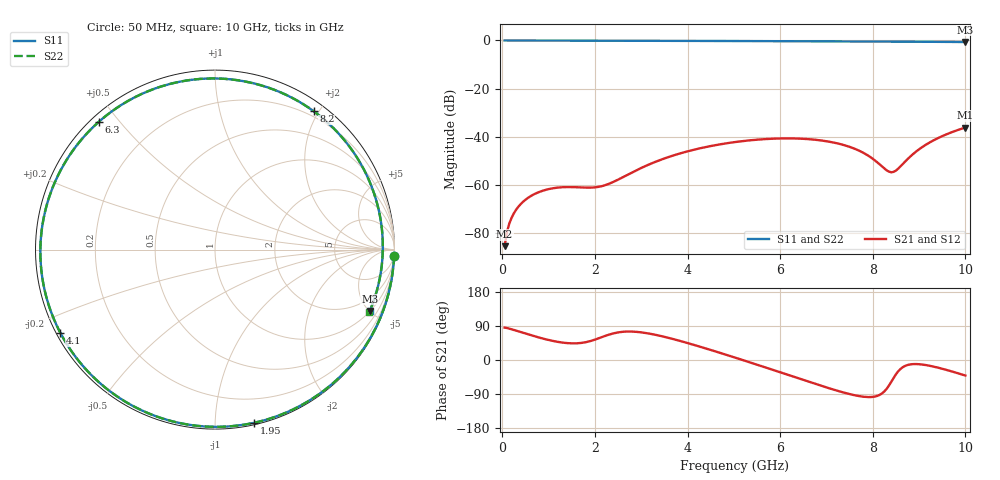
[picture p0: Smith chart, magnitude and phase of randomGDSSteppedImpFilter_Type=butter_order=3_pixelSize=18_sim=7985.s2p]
! freq	dB(S11)	phase(S11)	dB(S12)	phase(S12)
!  dB(S21)	phase(S21)	dB(S22)	phase(S22)
!S-par simulation data
#  GHz  S  DB  R 50
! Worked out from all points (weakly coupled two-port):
!   200 points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, 50 MHz to 10 GHz, reference 50 ohm
!   highest |S21| = -36.18 dB at 10 GHz (marker M1); lowest = -85.5 dB at 50 MHz (marker M2)
!   lowest |S11| = -0.7 dB at 10 GHz (marker M3), VSWR 26.58, Z = 51.2 - j251 ohm
!   |S11| at or under -10 dB: nowhere
!   |S22| runs from -0.7 to 0.0 dB; largest |S21 - S12| = 0
!   S11 on the Smith chart (normalised r, x): 50 MHz: 1, -57; 1.95 GHz: 0.01, -1.25; 4.1 GHz: 0.01, -0.25; 6.3 GHz: 0.02, +0.44; 8.2 GHz: 0.13, +1.93; 10 GHz: 1.02, -5.02
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0.05  -0.01 -2.0  -85.50 85.5  -85.50 85.5  -0.01 -2.0
0.1  -0.01 -4.1  -79.64 84.4  -79.64 84.4  -0.01 -4.1
0.2  -0.02 -8.2  -73.72 81.1  -73.72 81.1  -0.02 -8.2
0.3  -0.02 -12.3  -70.31 77.4  -70.31 77.4  -0.02 -12.3
0.65  -0.04 -26.7  -64.30 64.2  -64.30 64.2  -0.04 -26.7
1.1  -0.06 -44.8  -61.41 50.1  -61.41 50.1  -0.06 -44.8
1.75  -0.09 -69.9  -61.14 45.8  -61.14 45.8  -0.09 -69.9
1.95  -0.09 -77.4  -61.13 51.7  -61.13 51.7  -0.09 -77.4
2.65  -0.12 -102.6  -56.36 74.9  -56.36 74.9  -0.12 -102.6
3.4  -0.15 -128.3  -49.76 64.0  -49.76 64.0  -0.15 -128.3
4.1  -0.19 -151.6  -45.60 41.2  -45.60 41.2  -0.19 -151.7
5.05  -0.24 176.7  -42.17 5.4  -42.17 5.4  -0.24 176.7
5.65  -0.29 156.0  -41.03 -18.3  -41.03 -18.3  -0.29 155.9
6.3  -0.33 132.3  -40.74 -44.6  -40.74 -44.6  -0.33 132.3
6.7  -0.36 117.0  -41.16 -60.7  -41.16 -60.7  -0.36 117.0
7.15  -0.40 99.1  -42.42 -78.1  -42.42 -78.1  -0.40 99.0
7.6  -0.43 80.4  -44.94 -92.8  -44.94 -92.8  -0.43 80.3
8.2  -0.47 54.6  -52.40 -88.2  -52.40 -88.2  -0.47 54.4
8.35  -0.48 48.0  -54.54 -67.3  -54.54 -67.3  -0.48 47.9
8.5  -0.50 41.5  -54.09 -37.7  -54.09 -37.7  -0.50 41.3
9.15  -0.55 13.3  -43.30 -13.5  -43.30 -13.5  -0.55 13.1
10  -0.65 -21.7  -36.18 -41.1  -36.18 -41.1  -0.65 -21.9
